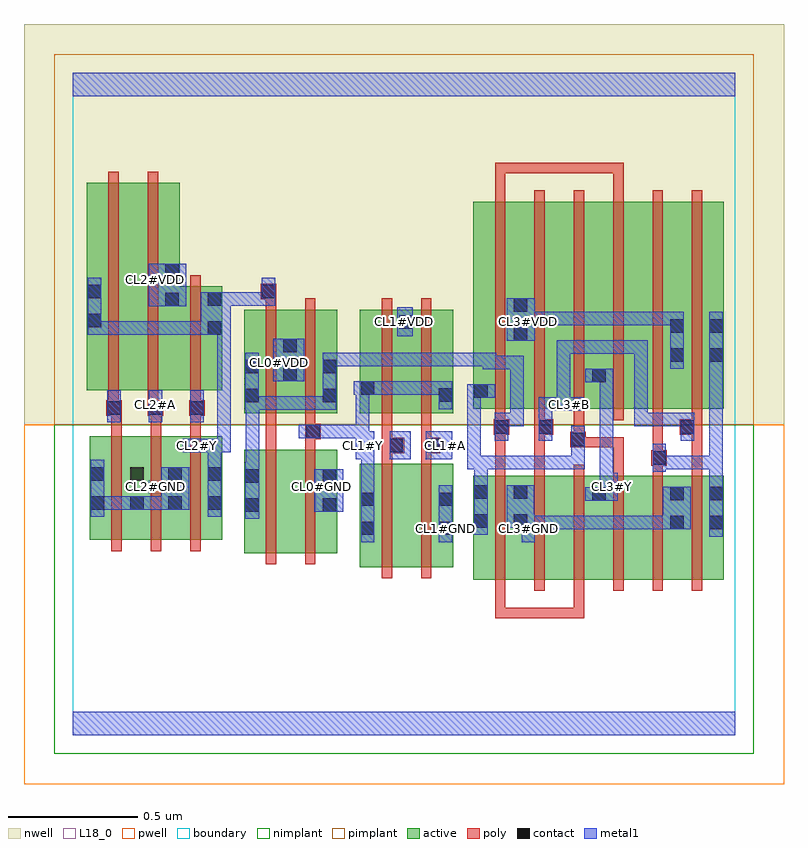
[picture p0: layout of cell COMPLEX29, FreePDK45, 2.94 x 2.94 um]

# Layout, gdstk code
import gdstk
lib = gdstk.Library(unit=1e-6, precision=1e-09)
def R(c, l, rs):  # rectangles x0, y0, x1, y1
    for r in rs: c.add(gdstk.rectangle(r[:2], r[2:], *l))
def A(c, l, x, y, w, h, nx, ny, dx, dy):  # array of equal rectangles
    R(c, l, [(x+i*dx, y+j*dy, x+i*dx+w, y+j*dy+h) for i in range(nx) for j in range(ny)])
active = (1, 0)
pwell = (2, 0)
nwell = (3, 0)
nimplant = (4, 0)
pimplant = (5, 0)
poly = (9, 0)
contact = (10, 0)
metal1 = (11, 0)
L18_0 = (18, 0)
boundary = (235, 0)

complex29 = lib.new_cell('COMPLEX29')
R(complex29, active, [(1.548,0.602,1.608,1.002), (1.548,0.602,1.76,1.002), (1.7,0.602,1.76,1.002), (1.7,0.602,1.88,1.002), (1.88,0.602,2.064,1.002), (2.004,0.602,2.184,1.002), (2.004,0.602,2.064,0.962), (2.184,0.602,2.364,1.002), (2.304,0.602,2.364,1.002), (2.304,0.602,2.516,1.002), (2.456,0.602,2.516,1.002), (1.11,0.65,1.17,1.05), (1.11,0.65,1.29,1.05), (1.29,0.65,1.47,1.05), (1.41,0.65,1.47,1.05), (0.662,0.704,0.722,1.104), (0.662,0.704,0.842,1.104), (0.842,0.704,1.022,1.104), (0.962,0.704,1.022,1.104), (0.066,0.756,0.126,1.156), (0.066,0.756,0.278,1.156), (0.218,0.756,0.278,1.04), (0.218,0.756,0.426,1.156), (0.366,0.756,0.578,1.156), (0.366,0.756,0.426,1.04), (0.518,0.756,0.578,1.156), (0.662,1.244,0.722,1.644), (0.662,1.244,0.87,1.644), (0.81,1.244,0.87,1.644), (0.81,1.244,1.022,1.644), (0.962,1.244,1.022,1.644), (1.11,1.244,1.17,1.644), (1.11,1.244,1.318,1.644), (1.258,1.244,1.47,1.644), (1.41,1.244,1.47,1.644), (1.548,1.262,1.76,2.062), (1.548,1.262,1.608,2.044), (1.7,1.262,1.88,2.062), (1.88,1.262,2.064,2.062), (2.004,1.262,2.184,2.062), (2.004,1.262,2.064,2.044), (2.184,1.262,2.364,2.062), (2.304,1.262,2.364,2.062), (2.304,1.262,2.516,2.062), (2.456,1.262,2.516,2.062), (0.054,1.334,0.114,2.134), (0.054,1.334,0.234,2.134), (0.234,1.334,0.414,2.134), (0.354,1.334,0.578,1.734), (0.354,1.334,0.414,1.826), (0.518,1.334,0.578,1.734), (1.258,1.366,1.318,1.644), (1.7,1.408,1.76,2.062)])
R(complex29, pwell, [(-0.188,-0.188,2.748,1.2)])
R(complex29, nwell, [(-0.188,1.2,2.748,2.748)])
R(complex29, nimplant, [(-0.072,-0.072,2.632,1.2)])
R(complex29, pimplant, [(-0.072,1.2,2.632,2.632)])
A(complex29, poly, 1.632, 0.558, 0.04, 0.488, 6, 1, 0.152, 0)
A(complex29, poly, 0.15, 0.712, 0.04, 0.488, 3, 1, 0.152, 0)
A(complex29, poly, 0.15, 1.16, 0.04, 0.114, 3, 1, 0.152, 0)
A(complex29, poly, 1.632, 1.218, 0.04, 0.888, 6, 1, 0.152, 0)
A(complex29, poly, 0.13, 1.234, 0.06, 0.06, 3, 1, 0.16, 0)
R(complex29, poly, [(1.632,0.452,1.672,0.492), (1.632,0.452,1.672,0.492), (1.632,0.452,1.672,0.492), (1.632,0.452,1.672,0.598), (1.632,0.452,1.856,0.492), (1.816,0.452,1.856,0.492), (1.816,0.452,1.856,0.492), (1.816,0.452,1.856,0.492), (1.816,0.452,1.976,0.492), (1.936,0.452,1.976,0.492), (1.936,0.452,1.976,0.598), (1.194,0.606,1.234,1.094), (1.346,0.606,1.386,1.094), (0.746,0.66,0.786,1.148), (0.898,0.66,0.938,1.148), (1.632,1.006,1.672,1.202), (1.784,1.006,1.824,1.202), (2.088,1.006,2.128,1.152), (2.24,1.006,2.28,1.082), (2.392,1.006,2.432,1.202), (2.236,1.042,2.296,1.102), (1.194,1.054,1.234,1.13), (1.346,1.054,1.386,1.13), (2.24,1.062,2.28,1.102), (2.24,1.062,2.28,1.102), (2.24,1.062,2.28,1.258), (1.194,1.09,1.28,1.15), (1.346,1.09,1.386,1.13), (1.346,1.09,1.386,1.13), (1.346,1.09,1.42,1.15), (0.746,1.108,0.786,1.204), (0.898,1.108,0.938,1.184), (1.194,1.11,1.234,1.15), (1.194,1.11,1.234,1.15), (1.194,1.11,1.234,1.24), (1.346,1.11,1.386,1.24), (1.922,1.112,1.982,1.172), (1.942,1.112,2.128,1.152), (2.088,1.112,2.128,1.152), (2.088,1.112,2.128,1.152), (2.088,1.112,2.128,1.152), (1.936,1.132,1.976,1.172), (1.936,1.132,1.976,1.172), (1.936,1.132,1.976,1.258), (0.898,1.144,0.938,1.184), (0.898,1.144,0.938,1.184), (0.898,1.144,0.958,1.204), (1.626,1.162,1.686,1.222), (1.632,1.162,1.672,1.202), (1.632,1.162,1.672,1.202), (1.784,1.162,1.824,1.202), (1.784,1.162,1.824,1.202), (1.784,1.162,1.856,1.222), (2.346,1.162,2.432,1.222), (2.392,1.162,2.432,1.202), (2.392,1.162,2.432,1.202), (0.746,1.164,0.786,1.24), (0.746,1.164,0.786,1.204), (0.746,1.164,0.786,1.204), (0.746,1.164,0.786,1.204), (0.898,1.164,0.938,1.24), (1.632,1.182,1.672,1.258), (1.784,1.182,1.824,1.258), (2.392,1.182,2.432,1.258), (0.746,1.2,0.786,1.688), (0.898,1.2,0.938,1.688), (1.194,1.2,1.234,1.688), (1.346,1.2,1.386,1.688), (0.15,1.234,0.19,1.274), (0.15,1.234,0.19,1.274), (0.302,1.234,0.342,1.274), (0.302,1.234,0.342,1.274), (0.454,1.234,0.494,1.274), (0.454,1.234,0.494,1.274), (0.138,1.254,0.178,1.33), (0.29,1.254,0.33,1.33), (0.454,1.254,0.494,1.33), (0.138,1.29,0.178,2.178), (0.29,1.29,0.33,2.178), (0.454,1.29,0.494,1.778), (0.746,1.648,0.786,1.724), (0.726,1.684,0.786,1.744), (1.632,2.066,1.672,2.212), (2.088,2.066,2.128,2.212), (1.632,2.172,1.672,2.212), (1.632,2.172,1.672,2.212), (1.632,2.172,1.672,2.212), (1.632,2.172,1.792,2.212), (1.752,2.172,1.792,2.212), (1.752,2.172,1.988,2.212), (1.948,2.172,1.988,2.212), (1.948,2.172,1.988,2.212), (1.948,2.172,1.988,2.212), (1.948,2.172,2.128,2.212), (2.088,2.172,2.128,2.212), (2.088,2.172,2.128,2.212), (2.088,2.172,2.128,2.212)])
A(complex29, contact, 0.134, 1.238, 0.052, 0.052, 3, 1, 0.16, 0)
R(complex29, contact, [(1.114,0.774,1.166,0.826), (1.414,0.774,1.466,0.826), (2.308,0.796,2.36,0.848), (2.46,0.796,2.512,0.848), (1.552,0.802,1.604,0.854), (1.704,0.802,1.756,0.854), (0.666,0.864,0.718,0.916), (0.966,0.864,1.018,0.916), (0.07,0.872,0.122,0.924), (0.222,0.872,0.274,0.924), (0.37,0.872,0.422,0.924), (0.522,0.872,0.574,0.924), (1.114,0.886,1.166,0.938), (1.414,0.886,1.466,0.938), (2.008,0.906,2.06,0.958), (2.308,0.908,2.36,0.96), (2.46,0.908,2.512,0.96), (1.552,0.914,1.604,0.966), (1.704,0.914,1.756,0.966), (0.666,0.976,0.718,1.028), (0.966,0.976,1.018,1.028), (0.07,0.984,0.122,1.036), (0.222,0.984,0.274,1.036), (0.37,0.984,0.422,1.036), (0.522,0.984,0.574,1.036), (2.24,1.046,2.292,1.098), (1.224,1.094,1.276,1.146), (1.364,1.094,1.416,1.146), (1.926,1.116,1.978,1.168), (0.902,1.148,0.954,1.2), (1.63,1.166,1.682,1.218), (1.8,1.166,1.852,1.218), (2.35,1.166,2.402,1.218), (0.666,1.286,0.718,1.338), (0.966,1.286,1.018,1.338), (1.414,1.288,1.466,1.34), (1.552,1.304,1.604,1.356), (1.114,1.316,1.166,1.368), (2.008,1.364,2.06,1.416), (0.814,1.368,0.866,1.42), (0.666,1.398,0.718,1.45), (0.966,1.398,1.018,1.45), (2.308,1.444,2.36,1.496), (2.46,1.444,2.512,1.496), (0.814,1.48,0.866,1.532), (1.704,1.524,1.756,1.576), (0.522,1.548,0.574,1.6), (2.308,1.556,2.36,1.608), (2.46,1.556,2.512,1.608), (1.262,1.57,1.314,1.622), (0.058,1.576,0.11,1.628), (1.704,1.636,1.756,1.688), (0.358,1.658,0.41,1.71), (0.522,1.66,0.574,1.712), (0.058,1.688,0.11,1.74), (0.73,1.688,0.782,1.74), (0.358,1.77,0.41,1.822)])
A(complex29, metal1, 0.134, 1.21, 0.052, 0.124, 3, 1, 0.16, 0)
R(complex29, metal1, [(0,0,2.56,0.092), (1.114,0.746,1.166,0.966), (1.414,0.746,1.466,0.966), (1.734,0.746,1.786,0.854), (2.46,0.768,2.512,0.988), (1.552,0.774,1.604,0.994), (1.734,0.796,1.908,0.848), (1.856,0.796,1.908,0.848), (1.856,0.796,1.978,0.848), (1.926,0.796,1.978,0.848), (1.926,0.796,2.088,0.848), (2.036,0.796,2.088,0.848), (2.036,0.796,2.088,0.848), (2.036,0.796,2.088,0.848), (2.036,0.796,2.222,0.848), (2.17,0.796,2.222,0.848), (2.17,0.796,2.222,0.848), (2.17,0.796,2.222,0.848), (2.17,0.796,2.332,0.848), (2.28,0.796,2.388,0.96), (1.676,0.802,1.784,0.966), (1.732,0.802,1.786,0.854), (0.666,0.836,0.72,1.056), (0.07,0.844,0.122,1.064), (0.522,0.844,0.574,1.064), (0.934,0.864,1.046,1.028), (0.07,0.872,0.122,0.924), (0.07,0.872,0.122,0.924), (0.07,0.872,0.232,0.924), (0.18,0.872,0.232,0.924), (0.18,0.872,0.232,0.924), (0.18,0.872,0.232,0.924), (0.18,0.872,0.394,0.924), (0.342,0.872,0.45,1.036), (1.98,0.906,2.088,0.958), (2.036,0.906,2.088,0.958), (2.036,0.906,2.106,1.014), (1.114,0.914,1.166,1.118), (2.46,0.936,2.512,1.08), (1.552,0.942,1.604,1.08), (2.036,0.962,2.088,1.014), (2.036,0.962,2.088,1.014), (2.036,0.962,2.088,1.416), (0.668,1.004,0.72,1.056), (0.668,1.004,0.72,1.056), (0.668,1.004,0.72,1.31), (0.522,1.012,0.574,1.146), (2.24,1.018,2.292,1.126), (1.524,1.028,1.576,1.08), (1.524,1.028,1.576,1.08), (1.524,1.028,1.576,1.356), (1.524,1.028,1.604,1.08), (1.552,1.028,1.604,1.08), (1.552,1.028,1.604,1.08), (1.552,1.028,1.792,1.08), (1.74,1.028,1.792,1.08), (1.74,1.028,1.792,1.08), (1.74,1.028,1.792,1.08), (1.74,1.028,1.902,1.08), (1.85,1.028,1.902,1.08), (1.85,1.028,1.978,1.08), (1.926,1.028,1.978,1.196), (2.24,1.028,2.332,1.08), (2.28,1.028,2.332,1.08), (2.28,1.028,2.512,1.08), (2.46,1.028,2.512,1.468), (2.46,1.028,2.512,1.08), (2.46,1.028,2.512,1.08), (2.46,1.028,2.512,1.08), (2.46,1.028,2.512,1.08), (2.46,1.028,2.512,1.08), (1.094,1.066,1.166,1.174), (1.224,1.066,1.306,1.174), (1.364,1.066,1.466,1.174), (0.426,1.094,0.61,1.146), (0.558,1.094,0.61,1.6), (1.094,1.122,1.146,1.2), (1.63,1.138,1.682,1.246), (1.8,1.138,1.852,1.306), (2.35,1.138,2.402,1.246), (0.874,1.148,0.982,1.2), (0.93,1.148,0.982,1.2), (0.93,1.148,0.982,1.2), (0.93,1.148,1.146,1.2), (1.094,1.148,1.146,1.368), (1.094,1.148,1.146,1.2), (1.63,1.194,1.742,1.246), (1.69,1.194,1.742,1.246), (1.69,1.194,1.742,1.246), (1.69,1.194,1.742,1.246), (1.69,1.194,1.742,1.466), (2.17,1.194,2.222,1.246), (2.17,1.194,2.222,1.246), (2.17,1.194,2.222,1.246), (2.17,1.194,2.402,1.246), (2.17,1.194,2.222,1.526), (2.35,1.194,2.402,1.246), (2.35,1.194,2.402,1.246), (2.35,1.194,2.402,1.246), (2.35,1.194,2.402,1.246), (1.8,1.254,1.918,1.306), (1.866,1.254,1.974,1.306), (1.87,1.254,1.922,1.526), (0.666,1.258,0.718,1.478), (0.666,1.258,0.718,1.31), (0.666,1.258,0.72,1.31), (0.666,1.258,0.72,1.31), (0.668,1.258,0.72,1.31), (0.668,1.258,0.83,1.31), (0.778,1.258,0.83,1.31), (0.778,1.258,0.83,1.31), (0.778,1.258,0.83,1.31), (0.778,1.258,1.018,1.31), (0.966,1.258,1.018,1.478), (1.414,1.26,1.466,1.368), (1.524,1.304,1.632,1.356), (1.086,1.316,1.194,1.368), (1.142,1.316,1.194,1.368), (1.142,1.316,1.194,1.368), (1.142,1.316,1.356,1.368), (1.304,1.316,1.356,1.368), (1.304,1.316,1.356,1.368), (1.304,1.316,1.356,1.368), (1.304,1.316,1.466,1.368), (1.98,1.364,2.088,1.416), (0.774,1.368,0.894,1.532), (1.584,1.414,1.742,1.466), (1.584,1.414,1.636,1.478), (1.69,1.414,1.742,1.466), (2.308,1.416,2.36,1.636), (2.46,1.416,2.512,1.636), (0.966,1.426,1.018,1.478), (0.966,1.426,1.018,1.478), (0.966,1.426,1.194,1.478), (1.142,1.426,1.194,1.478), (1.142,1.426,1.194,1.478), (1.142,1.426,1.194,1.478), (1.142,1.426,1.304,1.478), (1.252,1.426,1.304,1.478), (1.252,1.426,1.304,1.478), (1.252,1.426,1.304,1.478), (1.252,1.426,1.494,1.478), (1.442,1.426,1.494,1.478), (1.442,1.426,1.494,1.478), (1.442,1.426,1.494,1.478), (1.442,1.426,1.636,1.478), (1.87,1.474,1.922,1.526), (1.87,1.474,1.922,1.526), (1.87,1.474,1.922,1.526), (1.87,1.474,1.962,1.526), (1.91,1.474,1.962,1.526), (1.91,1.474,2.088,1.526), (2.036,1.474,2.088,1.526), (2.036,1.474,2.088,1.526), (2.036,1.474,2.088,1.526), (2.036,1.474,2.222,1.526), (2.17,1.474,2.222,1.526), (1.676,1.524,1.786,1.688), (1.254,1.542,1.314,1.654), (0.058,1.548,0.11,1.768), (0.058,1.548,0.11,1.6), (0.058,1.548,0.11,1.6), (0.058,1.548,0.236,1.6), (0.184,1.548,0.236,1.6), (0.184,1.548,0.346,1.6), (0.294,1.548,0.346,1.6), (0.294,1.548,0.346,1.6), (0.294,1.548,0.346,1.6), (0.294,1.548,0.546,1.6), (0.494,1.548,0.546,1.6), (0.494,1.548,0.546,1.6), (0.494,1.548,0.61,1.712), (0.558,1.548,0.61,1.6), (0.558,1.548,0.61,1.6), (1.734,1.584,1.792,1.636), (1.74,1.584,1.792,1.636), (1.74,1.584,1.908,1.636), (1.856,1.584,1.908,1.636), (1.856,1.584,1.978,1.636), (1.926,1.584,1.978,1.636), (1.926,1.584,2.088,1.636), (2.036,1.584,2.088,1.636), (2.036,1.584,2.088,1.636), (2.036,1.584,2.088,1.636), (2.036,1.584,2.222,1.636), (2.17,1.584,2.222,1.636), (2.17,1.584,2.222,1.636), (2.17,1.584,2.222,1.636), (2.17,1.584,2.36,1.636), (0.294,1.658,0.438,1.822), (0.558,1.66,0.61,1.712), (0.558,1.66,0.61,1.712), (0.558,1.66,0.61,1.712), (0.558,1.66,0.61,1.712), (0.558,1.66,0.61,1.712), (0.558,1.66,0.61,1.712), (0.558,1.66,0.716,1.712), (0.664,1.66,0.716,1.712), (0.664,1.66,0.716,1.712), (0.664,1.66,0.716,1.712), (0.664,1.66,0.782,1.712), (0.73,1.66,0.782,1.768), (0,2.468,2.56,2.56)])
A(complex29, L18_0, 1.094, 1.094, 0.052, 0.052, 3, 1, 0.16, 0)
A(complex29, L18_0, 0.134, 1.21, 0.052, 0.124, 3, 1, 0.16, 0)
A(complex29, L18_0, 0.134, 1.254, 0.052, 0.052, 3, 1, 0.16, 0)
R(complex29, L18_0, [(0,0,2.56,0.092), (1.114,0.746,1.166,0.966), (1.414,0.746,1.466,0.966), (1.734,0.746,1.786,0.854), (1.414,0.774,1.466,0.826), (1.734,0.774,1.786,0.826), (1.734,0.796,1.908,0.848), (1.856,0.796,1.908,0.848), (1.856,0.796,1.978,0.848), (1.926,0.796,1.978,0.848), (1.926,0.796,2.088,0.848), (2.036,0.796,2.088,0.848), (2.036,0.796,2.088,0.848), (2.036,0.796,2.088,0.848), (2.036,0.796,2.222,0.848), (2.17,0.796,2.222,0.848), (2.17,0.796,2.222,0.848), (2.17,0.796,2.222,0.848), (2.17,0.796,2.332,0.848), (2.28,0.796,2.388,0.96), (1.676,0.802,1.784,0.966), (1.732,0.802,1.786,0.854), (0.522,0.844,0.574,1.064), (0.934,0.864,1.046,1.028), (1.98,0.906,2.088,0.958), (2.036,0.906,2.088,0.958), (2.036,0.906,2.106,1.014), (1.114,0.914,1.166,1.118), (0.294,0.934,0.346,0.986), (0.934,0.934,0.986,0.986), (2.054,0.934,2.106,0.986), (2.036,0.962,2.088,1.014), (2.036,0.962,2.088,1.014), (2.036,0.962,2.088,1.416), (0.522,1.012,0.574,1.146), (1.094,1.066,1.166,1.174), (1.224,1.066,1.306,1.174), (1.364,1.066,1.466,1.174), (0.426,1.094,0.61,1.146), (0.454,1.094,0.506,1.146), (0.558,1.094,0.61,1.6), (1.094,1.122,1.146,1.2), (1.8,1.138,1.852,1.306), (2.35,1.138,2.402,1.246), (0.874,1.148,0.982,1.2), (0.93,1.148,0.982,1.2), (0.93,1.148,0.982,1.2), (0.93,1.148,1.146,1.2), (1.094,1.148,1.146,1.368), (1.094,1.148,1.146,1.2), (2.17,1.194,2.222,1.246), (2.17,1.194,2.222,1.246), (2.17,1.194,2.222,1.246), (2.17,1.194,2.222,1.526), (2.17,1.194,2.402,1.246), (2.35,1.194,2.402,1.246), (2.35,1.194,2.402,1.246), (2.35,1.194,2.402,1.246), (2.35,1.194,2.402,1.246), (1.8,1.254,1.918,1.306), (1.866,1.254,1.974,1.306), (1.87,1.254,1.922,1.526), (1.894,1.254,1.946,1.306), (1.414,1.26,1.466,1.368), (1.086,1.316,1.194,1.368), (1.142,1.316,1.194,1.368), (1.142,1.316,1.194,1.368), (1.142,1.316,1.356,1.368), (1.304,1.316,1.356,1.368), (1.304,1.316,1.356,1.368), (1.304,1.316,1.356,1.368), (1.304,1.316,1.466,1.368), (1.98,1.364,2.088,1.416), (0.774,1.368,0.894,1.532), (0.774,1.414,0.826,1.466), (2.308,1.416,2.36,1.636), (1.87,1.474,1.922,1.526), (1.87,1.474,1.922,1.526), (1.87,1.474,1.922,1.526), (1.87,1.474,1.962,1.526), (1.91,1.474,1.962,1.526), (1.91,1.474,2.088,1.526), (2.036,1.474,2.088,1.526), (2.036,1.474,2.088,1.526), (2.036,1.474,2.088,1.526), (2.036,1.474,2.222,1.526), (2.17,1.474,2.222,1.526), (1.676,1.524,1.786,1.688), (1.254,1.542,1.314,1.654), (0.058,1.548,0.11,1.768), (0.058,1.548,0.11,1.6), (0.058,1.548,0.11,1.6), (0.058,1.548,0.236,1.6), (0.184,1.548,0.236,1.6), (0.184,1.548,0.346,1.6), (0.294,1.548,0.346,1.6), (0.294,1.548,0.346,1.6), (0.294,1.548,0.346,1.6), (0.294,1.548,0.546,1.6), (0.494,1.548,0.546,1.6), (0.494,1.548,0.546,1.6), (0.494,1.548,0.61,1.712), (0.558,1.548,0.61,1.6), (0.558,1.548,0.61,1.6), (1.254,1.574,1.306,1.626), (1.734,1.574,1.786,1.626), (1.734,1.584,1.792,1.636), (1.74,1.584,1.792,1.636), (1.74,1.584,1.908,1.636), (1.856,1.584,1.908,1.636), (1.856,1.584,1.978,1.636), (1.926,1.584,1.978,1.636), (1.926,1.584,2.088,1.636), (2.036,1.584,2.088,1.636), (2.036,1.584,2.088,1.636), (2.036,1.584,2.088,1.636), (2.036,1.584,2.222,1.636), (2.17,1.584,2.222,1.636), (2.17,1.584,2.222,1.636), (2.17,1.584,2.222,1.636), (2.17,1.584,2.36,1.636), (0.294,1.658,0.438,1.822), (0.558,1.66,0.61,1.712), (0.558,1.66,0.61,1.712), (0.558,1.66,0.61,1.712), (0.558,1.66,0.61,1.712), (0.558,1.66,0.61,1.712), (0.558,1.66,0.61,1.712), (0.558,1.66,0.716,1.712), (0.664,1.66,0.716,1.712), (0.664,1.66,0.716,1.712), (0.664,1.66,0.716,1.712), (0.664,1.66,0.782,1.712), (0.73,1.66,0.782,1.768), (0.294,1.734,0.346,1.786), (0,2.468,2.56,2.56)])
R(complex29, boundary, [(0,0,2.56,2.56)])
complex29.add(gdstk.Label('CL0#GND', (0.96,0.96), layer=11, texttype=0))
complex29.add(gdstk.Label('CL0#VDD', (0.8,1.44), layer=11, texttype=0))
complex29.add(gdstk.Label('CL1#A', (1.44,1.12), layer=11, texttype=0))
complex29.add(gdstk.Label('CL1#B', (1.28,1.12), layer=11, texttype=0))
complex29.add(gdstk.Label('CL1#GND', (1.44,0.8), layer=11, texttype=0))
complex29.add(gdstk.Label('CL1#VDD', (1.28,1.6), layer=11, texttype=0))
complex29.add(gdstk.Label('CL1#Y', (1.12,1.12), layer=11, texttype=0))
complex29.add(gdstk.Label('CL2#A', (0.32,1.28), layer=11, texttype=0))
complex29.add(gdstk.Label('CL2#B', (0.16,1.28), layer=11, texttype=0))
complex29.add(gdstk.Label('CL2#C', (0.48,1.28), layer=11, texttype=0))
complex29.add(gdstk.Label('CL2#GND', (0.32,0.96), layer=11, texttype=0))
complex29.add(gdstk.Label('CL2#VDD', (0.32,1.76), layer=11, texttype=0))
complex29.add(gdstk.Label('CL2#Y', (0.48,1.12), layer=11, texttype=0))
complex29.add(gdstk.Label('CL3#B', (1.92,1.28), layer=11, texttype=0))
complex29.add(gdstk.Label('CL3#GND', (1.76,0.8), layer=11, texttype=0))
complex29.add(gdstk.Label('CL3#VDD', (1.76,1.6), layer=11, texttype=0))
complex29.add(gdstk.Label('CL3#Y', (2.08,0.96), layer=11, texttype=0))

lib.write_gds('COMPLEX29.gds')
